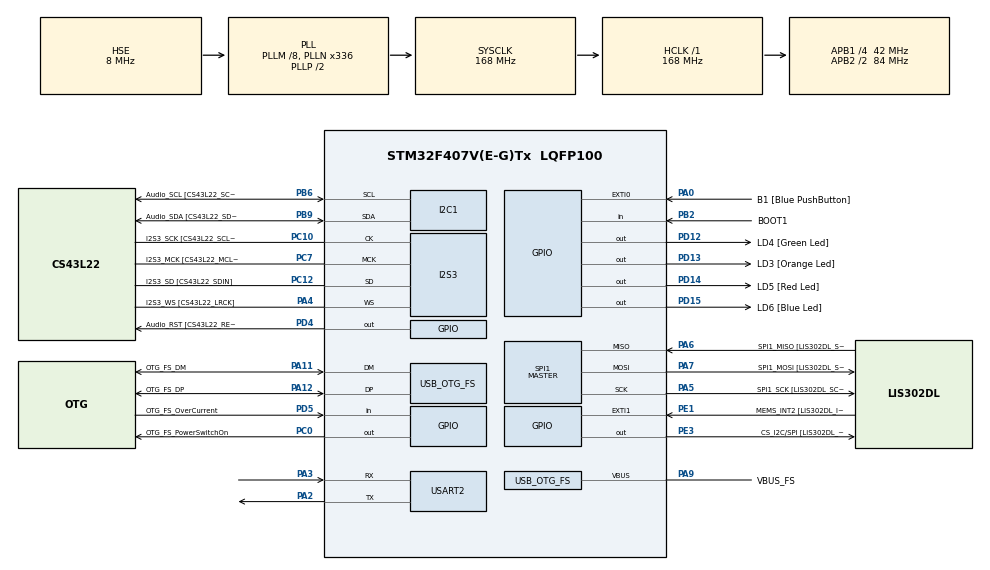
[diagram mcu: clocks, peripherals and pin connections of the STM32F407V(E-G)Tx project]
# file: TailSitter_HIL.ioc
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I2S3.AudioFreq-Half_Duplex_Master=I2S_AUDIOFREQ_96K
I2S3.ErrorAudioFreq=-2.34 %
I2S3.ErrorAudioFreq-Half_Duplex_Master=0.8 %
I2S3.FullDuplexMode=I2S_FULLDUPLEXMODE_DISABLE
I2S3.Instance=SPI$Index
I2S3.RealAudioFreq=93.75 KHz
I2S3.RealAudioFreq-Half_Duplex_Master=96.774 KHz
I2S3.VirtualMode=I2S_MODE_MASTER
Mcu.Family=STM32F4
Mcu.Name=STM32F407V(E-G)Tx
Mcu.Package=LQFP100
NVIC.OTG_FS_IRQn=true\:0\:0\:false\:false\:true\:true\:true\:true
NVIC.PriorityGroup=NVIC_PRIORITYGROUP_0
PA0-WKUP.GPIO_Label=B1 [Blue PushButton]
PA0-WKUP.GPIO_ModeDefaultEXTI=GPIO_MODE_EVT_RISING
PA0-WKUP.GPIO_PuPd=GPIO_NOPULL
PA0-WKUP.Signal=GPXTI0
PA10.GPIO_Label=OTG_FS_ID
PA10.GPIO_Mode=GPIO_MODE_AF_PP
PA10.GPIO_PuPd=GPIO_NOPULL
PA10.GPIO_Speed=GPIO_SPEED_FREQ_LOW
PA10.Signal=USB_OTG_FS_ID
PA11.GPIO_Label=OTG_FS_DM
PA11.GPIO_Mode=GPIO_MODE_AF_PP
PA11.GPIO_PuPd=GPIO_NOPULL
PA11.GPIO_Speed=GPIO_SPEED_FREQ_LOW
PA11.Mode=Host_Only
PA11.Signal=USB_OTG_FS_DM
PA12.GPIO_Label=OTG_FS_DP
PA12.GPIO_Mode=GPIO_MODE_AF_PP
PA12.GPIO_PuPd=GPIO_NOPULL
PA12.GPIO_Speed=GPIO_SPEED_FREQ_LOW
PA12.Mode=Host_Only
PA12.Signal=USB_OTG_FS_DP
PA13.GPIO_Label=SWDIO
PA13.Mode=Serial_Wire
PA13.Signal=SYS_JTMS-SWDIO
PA14.GPIO_Label=SWCLK
PA14.Mode=Serial_Wire
PA14.Signal=SYS_JTCK-SWCLK
PA2.Mode=Asynchronous
PA2.Signal=USART2_TX
PA3.Mode=Asynchronous
PA3.Signal=USART2_RX
PA4.GPIO_Label=I2S3_WS [CS43L22_LRCK]
PA4.GPIO_Mode=GPIO_MODE_AF_PP
PA4.GPIO_PuPd=GPIO_NOPULL
PA4.GPIO_Speed=GPIO_SPEED_FREQ_LOW
PA4.Mode=Half_Duplex_Master
PA4.Signal=I2S3_WS
PA5.GPIO_Label=SPI1_SCK [LIS302DL_SCL/SPC]
PA5.GPIO_Mode=GPIO_MODE_AF_PP
PA5.GPIO_PuPd=GPIO_NOPULL
PA5.GPIO_Speed=GPIO_SPEED_FREQ_LOW
PA5.Mode=Full_Duplex_Master
PA5.Signal=SPI1_SCK
PA6.GPIO_Label=SPI1_MISO [LIS302DL_SDO]
PA6.GPIO_Mode=GPIO_MODE_AF_PP
PA6.GPIO_PuPd=GPIO_NOPULL
PA6.GPIO_Speed=GPIO_SPEED_FREQ_LOW
PA6.Mode=Full_Duplex_Master
PA6.Signal=SPI1_MISO
PA7.GPIO_Label=SPI1_MOSI [LIS302DL_SDA/SDI/SDO]
PA7.GPIO_Mode=GPIO_MODE_AF_PP
PA7.GPIO_PuPd=GPIO_NOPULL
PA7.GPIO_Speed=GPIO_SPEED_FREQ_LOW
PA7.Mode=Full_Duplex_Master
PA7.Signal=SPI1_MOSI
PA9.GPIO_Label=VBUS_FS
PA9.GPIO_Mode=GPIO_MODE_INPUT
PA9.GPIO_PuPd=GPIO_NOPULL
PA9.Mode=Activate_VBUS
PA9.Signal=USB_OTG_FS_VBUS
PB10.GPIO_Label=CLK_IN [MP45DT02_CLK]
PB10.GPIO_Mode=GPIO_MODE_AF_PP
PB10.GPIO_PuPd=GPIO_NOPULL
PB10.GPIO_Speed=GPIO_SPEED_FREQ_LOW
PB10.Signal=I2S2_CK
PB2.GPIO_Label=BOOT1
PB2.GPIO_Mode=GPIO_MODE_INPUT
PB2.GPIO_PuPd=GPIO_NOPULL
PB2.Signal=GPIO_Input
PB3.GPIO_Label=SWO
PB3.Signal=SYS_JTDO-SWO
PB6.GPIO_Label=Audio_SCL [CS43L22_SCL]
PB6.GPIO_Mode=GPIO_MODE_AF_OD
PB6.GPIO_Pu=GPIO_PULLUP
PB6.GPIO_PuPd=GPIO_NOPULL
PB6.GPIO_Speed=GPIO_SPEED_FREQ_LOW
PB6.Mode=I2C
PB6.Signal=I2C1_SCL
PB9.GPIO_Label=Audio_SDA [CS43L22_SDA]
PB9.GPIO_Mode=GPIO_MODE_AF_OD
PB9.GPIO_Pu=GPIO_PULLUP
PB9.GPIO_PuPd=GPIO_NOPULL
PB9.GPIO_Speed=GPIO_SPEED_FREQ_LOW
PB9.Mode=I2C
PB9.Signal=I2C1_SDA
PC0.GPIO_Label=OTG_FS_PowerSwitchOn
PC0.GPIO_PuPd=GPIO_NOPULL
PC0.GPIO_Speed=GPIO_SPEED_FREQ_LOW
PC0.PinState=GPIO_PIN_SET
PC0.Signal=GPIO_Output
PC10.GPIO_Label=I2S3_SCK [CS43L22_SCLK]
PC10.GPIO_Mode=GPIO_MODE_AF_PP
PC10.GPIO_PuPd=GPIO_NOPULL
PC10.GPIO_Speed=GPIO_SPEED_FREQ_LOW
PC10.Mode=Half_Duplex_Master
PC10.Signal=I2S3_CK
PC12.GPIO_Label=I2S3_SD [CS43L22_SDIN]
PC12.GPIO_Mode=GPIO_MODE_AF_PP
PC12.GPIO_PuPd=GPIO_NOPULL
PC12.GPIO_Speed=GPIO_SPEED_FREQ_LOW
PC12.Mode=Half_Duplex_Master
PC12.Signal=I2S3_SD
PC14-OSC32_IN.GPIO_Label=PC14-OSC32_IN
PC14-OSC32_IN.Mode=LSE-External-Oscillator
PC14-OSC32_IN.Signal=RCC_OSC32_IN
PC15-OSC32_OUT.GPIO_Label=PC15-OSC32_OUT
PC15-OSC32_OUT.Mode=LSE-External-Oscillator
PC15-OSC32_OUT.Signal=RCC_OSC32_OUT
PC3.GPIO_Label=PDM_OUT [MP45DT02_DOUT]
PC3.GPIO_Mode=GPIO_MODE_AF_PP
PC3.GPIO_PuPd=GPIO_NOPULL
PC3.GPIO_Speed=GPIO_SPEED_FREQ_LOW
PC3.Signal=I2S2_SD
PC7.GPIO_Label=I2S3_MCK [CS43L22_MCLK]
PC7.GPIO_Mode=GPIO_MODE_AF_PP
PC7.GPIO_PuPd=GPIO_NOPULL
PC7.GPIO_Speed=GPIO_SPEED_FREQ_LOW
PC7.Mode=Master_Clock_Activated
PC7.Signal=I2S3_MCK
PD12.GPIO_Label=LD4 [Green Led]
PD12.GPIO_PuPd=GPIO_NOPULL
PD12.GPIO_Speed=GPIO_SPEED_FREQ_LOW
PD12.Signal=GPIO_Output
PD13.GPIO_Label=LD3 [Orange Led]
PD13.GPIO_PuPd=GPIO_NOPULL
PD13.GPIO_Speed=GPIO_SPEED_FREQ_LOW
PD13.Signal=GPIO_Output
PD14.GPIO_Label=LD5 [Red Led]
PD14.GPIO_PuPd=GPIO_NOPULL
PD14.GPIO_Speed=GPIO_SPEED_FREQ_LOW
PD14.Signal=GPIO_Output
PD15.GPIO_Label=LD6 [Blue Led]
PD15.GPIO_PuPd=GPIO_NOPULL
PD15.GPIO_Speed=GPIO_SPEED_FREQ_LOW
PD15.Signal=GPIO_Output
PD4.GPIO_Label=Audio_RST [CS43L22_RESET]
PD4.GPIO_PuPd=GPIO_NOPULL
PD4.GPIO_Speed=GPIO_SPEED_FREQ_LOW
PD4.Signal=GPIO_Output
PD5.GPIO_Label=OTG_FS_OverCurrent
PD5.GPIO_Mode=GPIO_MODE_INPUT
PD5.GPIO_PuPd=GPIO_NOPULL
PD5.Signal=GPIO_Input
PE1.GPIO_Label=MEMS_INT2 [LIS302DL_INT2]
PE1.GPIO_ModeDefaultEXTI=GPIO_MODE_EVT_RISING
PE1.GPIO_PuPd=GPIO_NOPULL
PE1.Signal=GPXTI1
PE3.GPIO_Label=CS_I2C/SPI [LIS302DL_CS_I2C/SPI]
PE3.GPIO_PuPd=GPIO_NOPULL
PE3.GPIO_Speed=GPIO_SPEED_FREQ_LOW
PE3.Signal=GPIO_Output
PH0-OSC_IN.GPIO_Label=PH0-OSC_IN
PH0-OSC_IN.Mode=HSE-External-Oscillator
PH0-OSC_IN.Signal=RCC_OSC_IN
PH1-OSC_OUT.GPIO_Label=PH1-OSC_OUT
PH1-OSC_OUT.Mode=HSE-External-Oscillator
PH1-OSC_OUT.Signal=RCC_OSC_OUT
ProjectManager.HeapSize=0x200
ProjectManager.StackSize=0x400
ProjectManager.TargetToolchain=STM32CubeIDE
RCC.48MHZClocksFreq_Value=48000000
RCC.AHBFreq_Value=168000000
RCC.APB1CLKDivider=RCC_HCLK_DIV4
RCC.APB1Freq_Value=42000000
RCC.APB1TimFreq_Value=84000000
RCC.APB2CLKDivider=RCC_HCLK_DIV2
RCC.APB2Freq_Value=84000000
RCC.APB2TimFreq_Value=168000000
RCC.CortexFreq_Value=168000000
RCC.HCLKFreq_Value=168000000
RCC.HSE_VALUE=8000000
RCC.HSI_VALUE=16000000
RCC.PLLM=8
RCC.PLLN=336
RCC.PLLQ=7
RCC.SYSCLKFreq_VALUE=168000000
RCC.SYSCLKSource=RCC_SYSCLKSOURCE_PLLCLK
RCC.VCOOutputFreq_Value=336000000
SPI1.BaudRatePrescaler-Full_Duplex_Master=SPI_BAUDRATEPRESCALER_2
SPI1.CalculateBaudRate-Full_Duplex_Master=42.0 MBits/s
SPI1.Direction=SPI_DIRECTION_2LINES
SPI1.Mode=SPI_MODE_MASTER
SPI1.Mode-Full_Duplex_Master=SPI_MODE_MASTER
SPI1.VirtualType=VM_MASTER
USART2.VirtualMode=VM_ASYNC
USB_HOST.BSP.number=1
USB_HOST.USBH_HandleTypeDef-CDC_FS=hUsbHostFS
USB_HOST.VirtualModeFS=Cdc
USB_HOST0.BSP.STBoard=false
USB_HOST0.BSP.api=Unknown
USB_HOST0.BSP.instance=PC0
USB_HOST0.BSP.ip=GPIO
USB_HOST0.BSP.mode=Output
USB_HOST0.BSP.name=Drive_VBUS_FS
USB_HOST0.BSP.solution=PC0
USB_OTG_FS.VirtualMode=Host_Only
USB_OTG_FS.phy_itface=HCD_PHY_EMBEDDED
VP_USB_HOST_VS_USB_HOST_CDC_FS.Mode=CDC_FS
board=STM32F407G-DISC1

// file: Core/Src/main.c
/* USER CODE BEGIN Header */
/**
  ******************************************************************************
  * @file           : main.c
  * @brief          : Main program body
  ******************************************************************************
  * @attention
  *
  * Copyright (c) 2026 STMicroelectronics.
  * All rights reserved.
  *
  * This software is licensed under terms that can be found in the LICENSE file
  * in the root directory of this software component.
  * If no LICENSE file comes with this software, it is provided AS-IS.
  *
  ******************************************************************************
  */
/* USER CODE END Header */
#include "main.h"
#include "usb_host.h"
#include <stdio.h>
#include <string.h>
/* USER CODE BEGIN Includes */
#include "TailSitter_Sim.h"
/* USER CODE END Includes */

I2C_HandleTypeDef hi2c1;

I2S_HandleTypeDef hi2s3;

SPI_HandleTypeDef hspi1;

UART_HandleTypeDef huart2;

/* USER CODE BEGIN PV */
char tx_buffer[50];
extern double TailSitter_Sim_Motor_PWM[4];
extern double TailSitter_Sim_Sensor_Verileri[4];
/* USER CODE END PV */

void SystemClock_Config(void);
static void MX_GPIO_Init(void);
static void MX_I2C1_Init(void);
static void MX_I2S3_Init(void);
static void MX_SPI1_Init(void);
static void MX_USART2_UART_Init(void);
void MX_USB_HOST_Process(void);

int main(void)
{

  /* MCU Configuration--------------------------------------------------------*/

  /* Reset of all peripherals, Initializes the Flash interface and the Systick. */
  HAL_Init();

  /* Configure the system clock */
  SystemClock_Config();

  /* Initialize all configured peripherals */
  MX_GPIO_Init();
  MX_I2C1_Init();
  MX_I2S3_Init();
  MX_SPI1_Init();
  MX_USART2_UART_Init();
  MX_USB_HOST_Init();
  /* USER CODE BEGIN 2 */
  TailSitter_Sim_initialize();
  uint32_t sonZaman = HAL_GetTick();
  /* USER CODE END 2 */

  /* Infinite loop */
  while (1)
  {
    MX_USB_HOST_Process();

    /* USER CODE BEGIN 3 */
    if((HAL_GetTick() - sonZaman) >= 10){
    	sonZaman = HAL_GetTick();

    TailSitter_Sim_Motor_PWM[0] = 0.6;
    TailSitter_Sim_Motor_PWM[1] = 0.6;
    TailSitter_Sim_Motor_PWM[2] = 0.6;
    TailSitter_Sim_Motor_PWM[3] = 0.6;

    TailSitter_Sim_step();

    sprintf(tx_buffer, "%.2f, %.2f, %.2f, %.2f\r\n",
                TailSitter_Sim_Sensor_Verileri[0],
                TailSitter_Sim_Sensor_Verileri[1],
                TailSitter_Sim_Sensor_Verileri[2],
                TailSitter_Sim_Sensor_Verileri[3]);
    HAL_UART_Transmit(&huart2, (uint8_t*)tx_buffer, strlen(tx_buffer), HAL_MAX_DELAY);
    }
  }
  /* USER CODE END 3 */
}

void SystemClock_Config(void)
{
  RCC_OscInitTypeDef RCC_OscInitStruct = {0};
  RCC_ClkInitTypeDef RCC_ClkInitStruct = {0};

  /** Configure the main internal regulator output voltage
  */
  __HAL_RCC_PWR_CLK_ENABLE();
  __HAL_PWR_VOLTAGESCALING_CONFIG(PWR_REGULATOR_VOLTAGE_SCALE1);

  /** Initializes the RCC Oscillators according to the specified parameters
  * in the RCC_OscInitTypeDef structure.
  */
  RCC_OscInitStruct.OscillatorType = RCC_OSCILLATORTYPE_HSE;
  RCC_OscInitStruct.HSEState = RCC_HSE_ON;
  RCC_OscInitStruct.PLL.PLLState = RCC_PLL_ON;
  RCC_OscInitStruct.PLL.PLLSource = RCC_PLLSOURCE_HSE;
  RCC_OscInitStruct.PLL.PLLM = 8;
  RCC_OscInitStruct.PLL.PLLN = 336;
  RCC_OscInitStruct.PLL.PLLP = RCC_PLLP_DIV2;
  RCC_OscInitStruct.PLL.PLLQ = 7;
  if (HAL_RCC_OscConfig(&RCC_OscInitStruct) != HAL_OK)
  {
    Error_Handler();
  }

  /** Initializes the CPU, AHB and APB buses clocks
  */
  RCC_ClkInitStruct.ClockType = RCC_CLOCKTYPE_HCLK|RCC_CLOCKTYPE_SYSCLK
                              |RCC_CLOCKTYPE_PCLK1|RCC_CLOCKTYPE_PCLK2;
  RCC_ClkInitStruct.SYSCLKSource = RCC_SYSCLKSOURCE_PLLCLK;
  RCC_ClkInitStruct.AHBCLKDivider = RCC_SYSCLK_DIV1;
  RCC_ClkInitStruct.APB1CLKDivider = RCC_HCLK_DIV4;
  RCC_ClkInitStruct.APB2CLKDivider = RCC_HCLK_DIV2;

  if (HAL_RCC_ClockConfig(&RCC_ClkInitStruct, FLASH_LATENCY_5) != HAL_OK)
  {
    Error_Handler();
  }
}

static void MX_I2C1_Init(void)
{

  hi2c1.Instance = I2C1;
  hi2c1.Init.ClockSpeed = 100000;
  hi2c1.Init.DutyCycle = I2C_DUTYCYCLE_2;
  hi2c1.Init.OwnAddress1 = 0;
  hi2c1.Init.AddressingMode = I2C_ADDRESSINGMODE_7BIT;
  hi2c1.Init.DualAddressMode = I2C_DUALADDRESS_DISABLE;
  hi2c1.Init.OwnAddress2 = 0;
  hi2c1.Init.GeneralCallMode = I2C_GENERALCALL_DISABLE;
  hi2c1.Init.NoStretchMode = I2C_NOSTRETCH_DISABLE;
  if (HAL_I2C_Init(&hi2c1) != HAL_OK)
  {
    Error_Handler();
  }

}

static void MX_I2S3_Init(void)
{

  hi2s3.Instance = SPI3;
  hi2s3.Init.Mode = I2S_MODE_MASTER_TX;
  hi2s3.Init.Standard = I2S_STANDARD_PHILIPS;
  hi2s3.Init.DataFormat = I2S_DATAFORMAT_16B;
  hi2s3.Init.MCLKOutput = I2S_MCLKOUTPUT_ENABLE;
  hi2s3.Init.AudioFreq = I2S_AUDIOFREQ_96K;
  hi2s3.Init.CPOL = I2S_CPOL_LOW;
  hi2s3.Init.ClockSource = I2S_CLOCK_PLL;
  hi2s3.Init.FullDuplexMode = I2S_FULLDUPLEXMODE_DISABLE;
  if (HAL_I2S_Init(&hi2s3) != HAL_OK)
  {
    Error_Handler();
  }

}

static void MX_SPI1_Init(void)
{

  /* SPI1 parameter configuration*/
  hspi1.Instance = SPI1;
  hspi1.Init.Mode = SPI_MODE_MASTER;
  hspi1.Init.Direction = SPI_DIRECTION_2LINES;
  hspi1.Init.DataSize = SPI_DATASIZE_8BIT;
  hspi1.Init.CLKPolarity = SPI_POLARITY_LOW;
  hspi1.Init.CLKPhase = SPI_PHASE_1EDGE;
  hspi1.Init.NSS = SPI_NSS_SOFT;
  hspi1.Init.BaudRatePrescaler = SPI_BAUDRATEPRESCALER_2;
  hspi1.Init.FirstBit = SPI_FIRSTBIT_MSB;
  hspi1.Init.TIMode = SPI_TIMODE_DISABLE;
  hspi1.Init.CRCCalculation = SPI_CRCCALCULATION_DISABLE;
  hspi1.Init.CRCPolynomial = 10;
  if (HAL_SPI_Init(&hspi1) != HAL_OK)
  {
    Error_Handler();
  }

}

static void MX_USART2_UART_Init(void)
{

  huart2.Instance = USART2;
  huart2.Init.BaudRate = 115200;
  huart2.Init.WordLength = UART_WORDLENGTH_8B;
  huart2.Init.StopBits = UART_STOPBITS_1;
  huart2.Init.Parity = UART_PARITY_NONE;
  huart2.Init.Mode = UART_MODE_TX_RX;
  huart2.Init.HwFlowCtl = UART_HWCONTROL_NONE;
  huart2.Init.OverSampling = UART_OVERSAMPLING_16;
  if (HAL_UART_Init(&huart2) != HAL_OK)
  {
    Error_Handler();
  }

}

static void MX_GPIO_Init(void)
{
  GPIO_InitTypeDef GPIO_InitStruct = {0};

  /* GPIO Ports Clock Enable */
  __HAL_RCC_GPIOE_CLK_ENABLE();
  __HAL_RCC_GPIOC_CLK_ENABLE();
  __HAL_RCC_GPIOH_CLK_ENABLE();
  __HAL_RCC_GPIOA_CLK_ENABLE();
  __HAL_RCC_GPIOB_CLK_ENABLE();
  __HAL_RCC_GPIOD_CLK_ENABLE();

  /*Configure GPIO pin Output Level */
  HAL_GPIO_WritePin(CS_I2C_SPI_GPIO_Port, CS_I2C_SPI_Pin, GPIO_PIN_RESET);

  /*Configure GPIO pin Output Level */
  HAL_GPIO_WritePin(OTG_FS_PowerSwitchOn_GPIO_Port, OTG_FS_PowerSwitchOn_Pin, GPIO_PIN_SET);

  /*Configure GPIO pin Output Level */
  HAL_GPIO_WritePin(GPIOD, LD4_Pin|LD3_Pin|LD5_Pin|LD6_Pin
                          |Audio_RST_Pin, GPIO_PIN_RESET);

  /*Configure GPIO pin : CS_I2C_SPI_Pin */
  GPIO_InitStruct.Pin = CS_I2C_SPI_Pin;
  GPIO_InitStruct.Mode = GPIO_MODE_OUTPUT_PP;
  GPIO_InitStruct.Pull = GPIO_NOPULL;
  GPIO_InitStruct.Speed = GPIO_SPEED_FREQ_LOW;
  HAL_GPIO_Init(CS_I2C_SPI_GPIO_Port, &GPIO_InitStruct);

  /*Configure GPIO pin : OTG_FS_PowerSwitchOn_Pin */
  GPIO_InitStruct.Pin = OTG_FS_PowerSwitchOn_Pin;
  GPIO_InitStruct.Mode = GPIO_MODE_OUTPUT_PP;
  GPIO_InitStruct.Pull = GPIO_NOPULL;
  GPIO_InitStruct.Speed = GPIO_SPEED_FREQ_LOW;
  HAL_GPIO_Init(OTG_FS_PowerSwitchOn_GPIO_Port, &GPIO_InitStruct);

  /*Configure GPIO pin : PDM_OUT_Pin */
  GPIO_InitStruct.Pin = PDM_OUT_Pin;
  GPIO_InitStruct.Mode = GPIO_MODE_AF_PP;
  GPIO_InitStruct.Pull = GPIO_NOPULL;
  GPIO_InitStruct.Speed = GPIO_SPEED_FREQ_LOW;
  GPIO_InitStruct.Alternate = GPIO_AF5_SPI2;
  HAL_GPIO_Init(PDM_OUT_GPIO_Port, &GPIO_InitStruct);

  /*Configure GPIO pin : B1_Pin */
  GPIO_InitStruct.Pin = B1_Pin;
  GPIO_InitStruct.Mode = GPIO_MODE_EVT_RISING;
  GPIO_InitStruct.Pull = GPIO_NOPULL;
  HAL_GPIO_Init(B1_GPIO_Port, &GPIO_InitStruct);

  /*Configure GPIO pin : BOOT1_Pin */
  GPIO_InitStruct.Pin = BOOT1_Pin;
  GPIO_InitStruct.Mode = GPIO_MODE_INPUT;
  GPIO_InitStruct.Pull = GPIO_NOPULL;
  HAL_GPIO_Init(BOOT1_GPIO_Port, &GPIO_InitStruct);

  /*Configure GPIO pin : CLK_IN_Pin */
  GPIO_InitStruct.Pin = CLK_IN_Pin;
  GPIO_InitStruct.Mode = GPIO_MODE_AF_PP;
  GPIO_InitStruct.Pull = GPIO_NOPULL;
  GPIO_InitStruct.Speed = GPIO_SPEED_FREQ_LOW;
  GPIO_InitStruct.Alternate = GPIO_AF5_SPI2;
  HAL_GPIO_Init(CLK_IN_GPIO_Port, &GPIO_InitStruct);

  /*Configure GPIO pins : LD4_Pin LD3_Pin LD5_Pin LD6_Pin
                           Audio_RST_Pin */
  GPIO_InitStruct.Pin = LD4_Pin|LD3_Pin|LD5_Pin|LD6_Pin
                          |Audio_RST_Pin;
  GPIO_InitStruct.Mode = GPIO_MODE_OUTPUT_PP;
  GPIO_InitStruct.Pull = GPIO_NOPULL;
  GPIO_InitStruct.Speed = GPIO_SPEED_FREQ_LOW;
  HAL_GPIO_Init(GPIOD, &GPIO_InitStruct);

  /*Configure GPIO pin : OTG_FS_OverCurrent_Pin */
  GPIO_InitStruct.Pin = OTG_FS_OverCurrent_Pin;
  GPIO_InitStruct.Mode = GPIO_MODE_INPUT;
  GPIO_InitStruct.Pull = GPIO_NOPULL;
  HAL_GPIO_Init(OTG_FS_OverCurrent_GPIO_Port, &GPIO_InitStruct);

  /*Configure GPIO pin : MEMS_INT2_Pin */
  GPIO_InitStruct.Pin = MEMS_INT2_Pin;
  GPIO_InitStruct.Mode = GPIO_MODE_EVT_RISING;
  GPIO_InitStruct.Pull = GPIO_NOPULL;
  HAL_GPIO_Init(MEMS_INT2_GPIO_Port, &GPIO_InitStruct);

}

void Error_Handler(void)
{
  __disable_irq();
  while (1)
  {
  }
}
